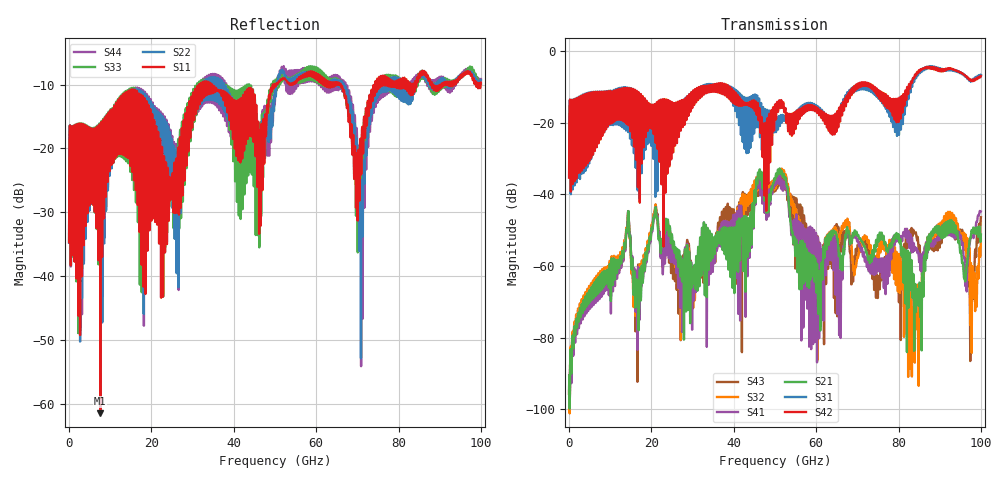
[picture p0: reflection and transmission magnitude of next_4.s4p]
# Hz S RI R 50
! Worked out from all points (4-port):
!   10000 points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, 10 MHz to 100 GHz, reference 50 ohm
!   strongest paths, dB at 10 MHz, 25.01 GHz, 50.01 GHz, 75.01 GHz, 100 GHz:
!     S42: -35.3, -14.4, -15.0, -11.9, -7.0
!     S31: -35.3, -17.3, -18.5, -12.2, -6.7
!     S21: -95.5, -51.5, -35.9, -51.3, -51.2
!     S41: -95.5, -54.0, -36.9, -61.3, -44.8
!     S32: -95.6, -52.8, -38.1, -55.7, -52.6
!     S43: -95.5, -55.4, -38.4, -67.9, -46.4
!   lowest |S11| = -61.5 dB at 7.58 GHz (marker M1), VSWR 1.00, Z = 50 + j0.0833 ohm
!   |S11| at or under -10 dB: start of sweep to 31.5 GHz; 34.77 GHz to 49.48 GHz (14.71 GHz wide, 34.9 % of centre); 65.94 GHz to 74.3 GHz (8.358 GHz wide, 11.9 % of centre)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
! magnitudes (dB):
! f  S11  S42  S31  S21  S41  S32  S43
! 10 MHz  -34.7  -35.3  -35.3  -95.5  -95.5  -95.6  -95.5
! 7.58 GHz  -61.5  -22.4  -24.1  -62.5  -63.7  -61.5  -62.7
! 51.65 GHz  -9.2  -15.0  -20.0  -33.5  -36.0  -32.9  -34.5
! 60.32 GHz  -9.1  -16.9  -15.9  -61.4  -55.0  -86.2  -52.1
! 92.26 GHz  -10.1  -4.9  -5.4  -50.5  -51.3  -47.0  -48.2
! 97.81 GHz  -8.5  -8.1  -8.0  -50.1  -51.5  -72.4  -69.0
! 100 GHz  -9.7  -7.0  -6.7  -51.2  -44.8  -52.6  -46.4
